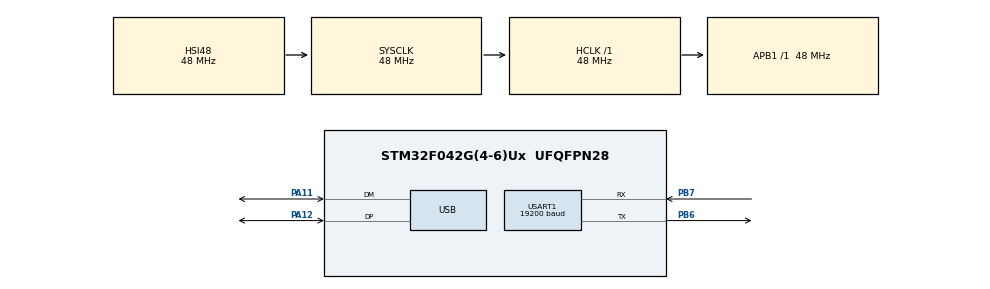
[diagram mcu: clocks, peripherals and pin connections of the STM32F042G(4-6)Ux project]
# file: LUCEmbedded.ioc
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Mcu.Family=STM32F0
Mcu.Name=STM32F042G(4-6)Ux
Mcu.Package=UFQFPN28
NVIC.USART1_IRQn=true\:0\:0\:false\:false\:true\:true
NVIC.USB_IRQn=true\:0\:0\:false\:false\:true\:false
PA11.Mode=Device
PA11.Signal=USB_DM
PA12.Mode=Device
PA12.Signal=USB_DP
PA13.Mode=Serial_Wire
PA13.Signal=SYS_SWDIO
PA14.Mode=Serial_Wire
PA14.Signal=SYS_SWCLK
PB6.Mode=LIN
PB6.Signal=USART1_TX
PB7.Mode=LIN
PB7.Signal=USART1_RX
ProjectManager.HeapSize=0x200
ProjectManager.StackSize=0x400
ProjectManager.TargetToolchain=TrueSTUDIO
RCC.AHBFreq_Value=48000000
RCC.APB1Freq_Value=48000000
RCC.APB1TimFreq_Value=48000000
RCC.HCLKFreq_Value=48000000
RCC.SYSCLKFreq_VALUE=48000000
RCC.SYSCLKSource=RCC_SYSCLKSOURCE_HSI48
USART1.AutoBaudRateEnableParam=UART_ADVFEATURE_AUTOBAUDRATE_DISABLE
USART1.BaudRate=19200
USART1.VirtualMode-LIN=VM_LIN
USART1.WordLength=WORDLENGTH_8B
USB_DEVICE.CLASS_NAME_FS=CDC
USB_DEVICE.MANUFACTURER_STRING=uCAN
USB_DEVICE.PRODUCT_STRING_CDC_FS=LinUSBConverter
USB_DEVICE.VirtualMode=Cdc
USB_DEVICE.VirtualModeFS=Cdc_FS
VP_SYS_VS_PINREMAP.Mode=PINREMAP
VP_USB_DEVICE_VS_USB_DEVICE_CDC_FS.Mode=CDC_FS
board=LUCEmbedded

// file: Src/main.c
/**
  ******************************************************************************
  * @file           : main.c
  * @brief          : Main program body
  ******************************************************************************
  * This notice applies to any and all portions of this file
  * that are not between comment pairs USER CODE BEGIN and
  * USER CODE END. Other portions of this file, whether
  * inserted by the user or by software development tools
  * are owned by their respective copyright owners.
  *
  * Copyright (c) 2018 STMicroelectronics International N.V.
  * All rights reserved.
  *
  * Redistribution and use in source and binary forms, with or without
  * modification, are permitted, provided that the following conditions are met:
  *
  * 1. Redistribution of source code must retain the above copyright notice,
  *    this list of conditions and the following disclaimer.
  * 2. Redistributions in binary form must reproduce the above copyright notice,
  *    this list of conditions and the following disclaimer in the documentation
  *    and/or other materials provided with the distribution.
  * 3. Neither the name of STMicroelectronics nor the names of other
  *    contributors to this software may be used to endorse or promote products
  *    derived from this software without specific written permission.
  * 4. This software, including modifications and/or derivative works of this
  *    software, must execute solely and exclusively on microcontroller or
-  *    microprocessor devices manufactured by or for STMicroelectronics.
  * 5. Redistribution and use of this software other than as permitted under
  *    this license is void and will automatically terminate your rights under
  *    this license.
  *
  * THIS SOFTWARE IS PROVIDED BY STMICROELECTRONICS AND CONTRIBUTORS "AS IS"
  * AND ANY EXPRESS, IMPLIED OR STATUTORY WARRANTIES, INCLUDING, BUT NOT
  * LIMITED TO, THE IMPLIED WARRANTIES OF MERCHANTABILITY, FITNESS FOR A
  * PARTICULAR PURPOSE AND NON-INFRINGEMENT OF THIRD PARTY INTELLECTUAL PROPERTY
  * RIGHTS ARE DISCLAIMED TO THE FULLEST EXTENT PERMITTED BY LAW. IN NO EVENT
  * SHALL STMICROELECTRONICS OR CONTRIBUTORS BE LIABLE FOR ANY DIRECT, INDIRECT,
  * INCIDENTAL, SPECIAL, EXEMPLARY, OR CONSEQUENTIAL DAMAGES (INCLUDING, BUT NOT
  * LIMITED TO, PROCUREMENT OF SUBSTITUTE GOODS OR SERVICES; LOSS OF USE, DATA,
  * OR PROFITS; OR BUSINESS INTERRUPTION) HOWEVER CAUSED AND ON ANY THEORY OF
  * LIABILITY, WHETHER IN CONTRACT, STRICT LIABILITY, OR TORT (INCLUDING
  * NEGLIGENCE OR OTHERWISE) ARISING IN ANY WAY OUT OF THE USE OF THIS SOFTWARE,
  * EVEN IF ADVISED OF THE POSSIBILITY OF SUCH DAMAGE.
  *
  ******************************************************************************
  */
#include "main.h"
#include "stm32f0xx_hal.h"
#include "usb_device.h"

/* USER CODE BEGIN Includes */
#include "slcan.h"
#include "lin_slcan.h"

/* USER CODE END Includes */

UART_HandleTypeDef huart1;

/* USER CODE BEGIN PV */
/* Private variables ---------------------------------------------------------*/

/* USER CODE END PV */

void SystemClock_Config(void);
static void MX_GPIO_Init(void);
void MX_USART1_UART_Init(void);

/* USER CODE BEGIN PFP */
/* Private function prototypes -----------------------------------------------*/

/* USER CODE END PFP */

/* USER CODE BEGIN 0 */
const uint32_t *uid = (uint32_t *)(UID_BASE);
uint32_t serialNumber = 0;
uint8_t Uart2RxFifo;
uint32_t lin_baund_rate = 19200;
#define UART_RX_FIFO_SIZE 1
/* USER CODE END 0 */

void bootloaderSwitcher();

int main(void)
{
	serialNumber = uid[0] ^ uid[1] ^ uid[2];
  /* USER CODE BEGIN 1 */
  bootloaderSwitcher();
  /* USER CODE END 1 */

  /* MCU Configuration----------------------------------------------------------*/

  /* Reset of all periph
   * erals, Initializes the Flash interface and the Systick. */
  HAL_Init();

  /* Configure the system clock */
  SystemClock_Config();

  /* USER CODE BEGIN SysInit */
  /* The board has no crystal: HSI48 clocks the CPU, USB and the LIN UART.
   * Let the Clock Recovery System trim it to the host's 1 ms USB SOF, so the
   * LIN baud rate and slot timing hold over temperature like a crystal. */
  {
    RCC_CRSInitTypeDef crs;
    __HAL_RCC_CRS_CLK_ENABLE();
    crs.Prescaler = RCC_CRS_SYNC_DIV1;
    crs.Source = RCC_CRS_SYNC_SOURCE_USB;
    crs.Polarity = RCC_CRS_SYNC_POLARITY_RISING;
    crs.ReloadValue = __HAL_RCC_CRS_RELOADVALUE_CALCULATE(48000000U, 1000U);
    crs.ErrorLimitValue = RCC_CRS_ERRORLIMIT_DEFAULT;
    crs.HSI48CalibrationValue = RCC_CRS_HSI48CALIBRATION_DEFAULT;
    HAL_RCCEx_CRSConfig(&crs);
  }
  /* USER CODE END SysInit */

  /* Initialize all configured peripherals */
  MX_GPIO_Init();
  MX_USART1_UART_Init();
  MX_USB_DEVICE_Init();
  /* USER CODE BEGIN 2 */
  HAL_UART_Receive_IT(&huart1, &Uart2RxFifo, UART_RX_FIFO_SIZE);
//  HAL_NVIC_SetPriority(USART1_IRQn, 2, 0);
  NVIC_EnableIRQ(USART1_IRQn);
  /* USER CODE END 2 */

  /* Infinite loop */
  /* USER CODE BEGIN WHILE */
  while (1)
  {
	  slCanCheckCommand();
  /* USER CODE END WHILE */

  }

}

void SystemClock_Config(void)
{

  RCC_OscInitTypeDef RCC_OscInitStruct;
  RCC_ClkInitTypeDef RCC_ClkInitStruct;
  RCC_PeriphCLKInitTypeDef PeriphClkInit;

    /**Initializes the CPU, AHB and APB busses clocks
    */
  RCC_OscInitStruct.OscillatorType = RCC_OSCILLATORTYPE_HSI48;
  RCC_OscInitStruct.HSI48State = RCC_HSI48_ON;
  RCC_OscInitStruct.PLL.PLLState = RCC_PLL_NONE;
  if (HAL_RCC_OscConfig(&RCC_OscInitStruct) != HAL_OK)
  {
//    _Error_Handler(__FILE__, __LINE__);
  }

    /**Initializes the CPU, AHB and APB busses clocks
    */
  RCC_ClkInitStruct.ClockType = RCC_CLOCKTYPE_HCLK|RCC_CLOCKTYPE_SYSCLK
                              |RCC_CLOCKTYPE_PCLK1;
  RCC_ClkInitStruct.SYSCLKSource = RCC_SYSCLKSOURCE_HSI48;
  RCC_ClkInitStruct.AHBCLKDivider = RCC_SYSCLK_DIV1;
  RCC_ClkInitStruct.APB1CLKDivider = RCC_HCLK_DIV1;

  if (HAL_RCC_ClockConfig(&RCC_ClkInitStruct, FLASH_LATENCY_1) != HAL_OK)
  {
//    _Error_Handler(__FILE__, __LINE__);
  }

  PeriphClkInit.PeriphClockSelection = RCC_PERIPHCLK_USB|RCC_PERIPHCLK_USART1;
  PeriphClkInit.Usart1ClockSelection = RCC_USART1CLKSOURCE_PCLK1;
  PeriphClkInit.UsbClockSelection = RCC_USBCLKSOURCE_HSI48;

  if (HAL_RCCEx_PeriphCLKConfig(&PeriphClkInit) != HAL_OK)
  {
//    _Error_Handler(__FILE__, __LINE__);
  }

    /**Configure the Systick interrupt time
    */
  HAL_SYSTICK_Config(HAL_RCC_GetHCLKFreq()/1000);

    /**Configure the Systick
    */
  HAL_SYSTICK_CLKSourceConfig(SYSTICK_CLKSOURCE_HCLK);

  /* SysTick_IRQn interrupt configuration */
  HAL_NVIC_SetPriority(SysTick_IRQn, 0, 0);
}

/* USART1 init function */
void MX_USART1_UART_Init(void)
{

  huart1.Instance = USART1;
  huart1.Init.BaudRate = lin_baund_rate;
  huart1.Init.WordLength = UART_WORDLENGTH_8B;
  huart1.Init.StopBits = UART_STOPBITS_1;
  huart1.Init.Parity = UART_PARITY_NONE;
  huart1.Init.Mode = UART_MODE_TX_RX;
  huart1.Init.HwFlowCtl = UART_HWCONTROL_NONE;
  huart1.Init.OverSampling = UART_OVERSAMPLING_16;
  huart1.Init.OneBitSampling = UART_ONE_BIT_SAMPLE_DISABLE;
  huart1.AdvancedInit.AdvFeatureInit = UART_ADVFEATURE_NO_INIT;
  if (HAL_LIN_Init(&huart1, UART_LINBREAKDETECTLENGTH_11B) != HAL_OK)
  {
//    _Error_Handler(__FILE__, __LINE__);
  }

}

/** Configure pins as
        * Analog
        * Input
        * Output
        * EVENT_OUT
        * EXTI
*/
static void MX_GPIO_Init(void)
{

  /* GPIO Ports Clock Enable */
  __HAL_RCC_GPIOA_CLK_ENABLE();
  __HAL_RCC_GPIOB_CLK_ENABLE();

}

/* USER CODE BEGIN 4 */
void HAL_UART_RxCpltCallback(UART_HandleTypeDef *huart){
	extern LinType_t lin_type;
	uint8_t rbyte = Uart2RxFifo;
	if (slcan_state == SLCAN_STATE_OPEN)
	{
		switch (lin_type)
		{
		case LIN_MASTER:
			open_lin_master_dl_rx(rbyte);
			break;
		case LIN_SLAVE:
			open_lin_slave_rx_header(rbyte);
		default: /* Monitor */
			lin_slcan_rx(rbyte);
			break;
		}
	}
	HAL_UART_Receive_IT(huart, &Uart2RxFifo, 1);
}

void HAL_UART_ErrorCallback(UART_HandleTypeDef *huart)
{
	/* On overrun HAL aborts the IT reception (UART_EndRxTransfer). It happens in slave mode
	 * when the response echo arrives during the blocking transmit - restart reception,
	 * otherwise the converter stays deaf until reopened. */
	if (huart->RxState == HAL_UART_STATE_READY)
	{
		__HAL_UART_CLEAR_FLAG(huart, UART_CLEAR_OREF | UART_CLEAR_FEF | UART_CLEAR_NEF | UART_CLEAR_PEF);
		HAL_UART_Receive_IT(huart, &Uart2RxFifo, 1);
	}
}

/* USER CODE END 4 */

void _Error_Handler(char *file, int line)
{
  while(1)
  {
  }
}

/************************ (C) COPYRIGHT STMicroelectronics *****END OF FILE****/
